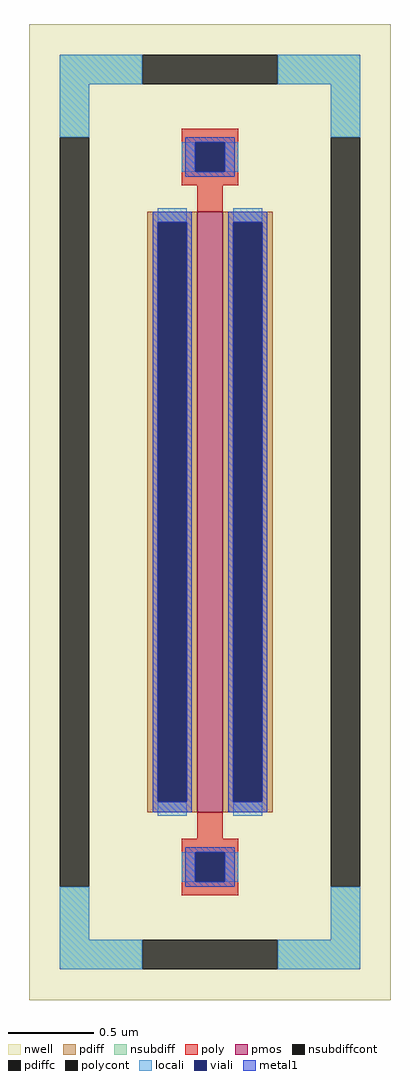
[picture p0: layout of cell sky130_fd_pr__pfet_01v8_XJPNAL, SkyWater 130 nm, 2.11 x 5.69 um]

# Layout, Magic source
magic
tech sky130A
magscale 1 2
<< nwell >>
rect -211 -569 211 569
<< pmos >>
rect -15 -350 15 350
<< pdiff >>
rect -73 338 -15 350
rect -73 -338 -61 338
rect -27 -338 -15 338
rect -73 -350 -15 -338
rect 15 338 73 350
rect 15 -338 27 338
rect 61 -338 73 338
rect 15 -350 73 -338
<< pdiffc >>
rect -61 -338 -27 338
rect 27 -338 61 338
<< nsubdiff >>
rect -175 499 -79 533
rect 79 499 175 533
rect -175 437 -141 499
rect 141 437 175 499
rect -175 -499 -141 -437
rect 141 -499 175 -437
rect -175 -533 -79 -499
rect 79 -533 175 -499
<< nsubdiffcont >>
rect -79 499 79 533
rect -175 -437 -141 437
rect 141 -437 175 437
rect -79 -533 79 -499
<< poly >>
rect -33 431 33 447
rect -33 397 -17 431
rect 17 397 33 431
rect -33 381 33 397
rect -15 350 15 381
rect -15 -381 15 -350
rect -33 -397 33 -381
rect -33 -431 -17 -397
rect 17 -431 33 -397
rect -33 -447 33 -431
<< polycont >>
rect -17 397 17 431
rect -17 -431 17 -397
<< locali >>
rect -175 499 -79 533
rect 79 499 175 533
rect -175 437 -141 499
rect 141 437 175 499
rect -33 397 -17 431
rect 17 397 33 431
rect -61 338 -27 354
rect -61 -354 -27 -338
rect 27 338 61 354
rect 27 -354 61 -338
rect -33 -431 -17 -397
rect 17 -431 33 -397
rect -175 -499 -141 -437
rect 141 -499 175 -437
rect -175 -533 -79 -499
rect 79 -533 175 -499
<< viali >>
rect -17 397 17 431
rect -61 -338 -27 338
rect 27 -338 61 338
rect -17 -431 17 -397
<< metal1 >>
rect -29 431 29 437
rect -29 397 -17 431
rect 17 397 29 431
rect -29 391 29 397
rect -67 338 -21 350
rect -67 -338 -61 338
rect -27 -338 -21 338
rect -67 -350 -21 -338
rect 21 338 67 350
rect 21 -338 27 338
rect 61 -338 67 338
rect 21 -350 67 -338
rect -29 -397 29 -391
rect -29 -431 -17 -397
rect 17 -431 29 -397
rect -29 -437 29 -431
<< properties >>
string FIXED_BBOX -158 -516 158 516
string gencell sky130_fd_pr__pfet_01v8
string library sky130
string parameters w 3.5 l 0.15 m 1 nf 1 diffcov 100 polycov 100 guard 1 glc 1 grc 1 gtc 1 gbc 1 tbcov 100 rlcov 100 topc 1 botc 1 poverlap 0 doverlap 1 lmin 0.15 wmin 0.42 compatible {sky130_fd_pr__pfet_01v8  sky130_fd_pr__pfet_01v8_lvt sky130_fd_pr__pfet_01v8_hvt  sky130_fd_pr__pfet_g5v0d10v5} full_metal 1 viasrc 100 viadrn 100 viagate 100 viagb 0 viagr 0 viagl 0 viagt 0
<< end >>
